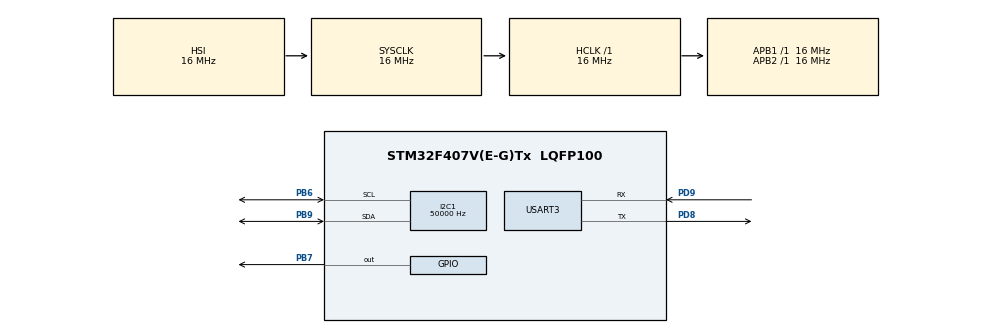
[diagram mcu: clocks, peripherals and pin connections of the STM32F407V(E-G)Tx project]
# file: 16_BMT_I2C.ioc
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I2C1.ClockSpeed=50000
Mcu.Family=STM32F4
Mcu.Name=STM32F407V(E-G)Tx
Mcu.Package=LQFP100
NVIC.PriorityGroup=NVIC_PRIORITYGROUP_4
NVIC.USART3_IRQn=true\:0\:0\:false\:false\:true\:true\:true\:true
PB6.Mode=I2C
PB6.Signal=I2C1_SCL
PB7.Signal=GPIO_Output
PB9.Mode=I2C
PB9.Signal=I2C1_SDA
PD8.Mode=Asynchronous
PD8.Signal=USART3_TX
PD9.Mode=Asynchronous
PD9.Signal=USART3_RX
ProjectManager.HeapSize=0x200
ProjectManager.StackSize=0x400
ProjectManager.TargetToolchain=STM32CubeIDE
RCC.AHBFreq_Value=16000000
RCC.APB1Freq_Value=16000000
RCC.APB2Freq_Value=16000000
RCC.CortexFreq_Value=16000000
RCC.HSE_VALUE=25000000
RCC.HSI_VALUE=16000000
RCC.LSE_VALUE=32768
RCC.SYSCLKFreq_VALUE=16000000
RCC.VCOOutputFreq_Value=192000000
USART3.VirtualMode=VM_ASYNC
board=custom

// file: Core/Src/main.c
/* USER CODE BEGIN Header */
/**
  ******************************************************************************
  * @file           : main.c
  * @brief          : Main program body
  ******************************************************************************
  * @attention
  *
  * Copyright (c) 2023 STMicroelectronics.
  * All rights reserved.
  *
  * This software is licensed under terms that can be found in the LICENSE file
  * in the root directory of this software component.
  * If no LICENSE file comes with this software, it is provided AS-IS.
  *
  ******************************************************************************
  */
/* USER CODE END Header */
#include "main.h"

/* USER CODE BEGIN Includes */
#include "i2c_lib.h"
/* USER CODE END Includes */

/* USER CODE BEGIN PTD */
typedef enum{
	NOT_EQUAL,
	EQUAL,
}compare_result_t;

/* USER CODE END PTD */

I2C_HandleTypeDef hi2c1;

UART_HandleTypeDef huart3;

/* USER CODE BEGIN PV */
uint8_t rcvBuf[5];

/* USER CODE END PV */

void SystemClock_Config(void);
static void MX_GPIO_Init(void);
static void MX_I2C1_Init(void);
static void MX_USART3_UART_Init(void);
/* USER CODE BEGIN PFP */
compare_result_t compare_strings(uint8_t *str1, uint8_t *str2, uint8_t len);
uint8_t char_to_digit(uint8_t character);
/* USER CODE END PFP */

int main(void)
{

  /* MCU Configuration--------------------------------------------------------*/

  /* Reset of all peripherals, Initializes the Flash interface and the Systick. */
  HAL_Init();

  /* Configure the system clock */
  SystemClock_Config();

  /* Initialize all configured peripherals */
  MX_GPIO_Init();
  MX_I2C1_Init();
  MX_USART3_UART_Init();
  /* USER CODE BEGIN 2 */

  HAL_Delay(10);

  I2C_enable_outputs();
  I2C_disable_sleep_mode(&hi2c1);
  I2C_set_duty_for_all(&hi2c1, 60);

  /* USER CODE END 2 */

  /* Infinite loop */
  /* USER CODE BEGIN WHILE */

  while (1)
  {
	  HAL_UART_Receive_IT(&huart3, rcvBuf, 5);
    /* USER CODE END WHILE */

  }
}

void SystemClock_Config(void)
{
  RCC_OscInitTypeDef RCC_OscInitStruct = {0};
  RCC_ClkInitTypeDef RCC_ClkInitStruct = {0};

  /** Configure the main internal regulator output voltage
  */
  __HAL_RCC_PWR_CLK_ENABLE();
  __HAL_PWR_VOLTAGESCALING_CONFIG(PWR_REGULATOR_VOLTAGE_SCALE1);

  /** Initializes the RCC Oscillators according to the specified parameters
  * in the RCC_OscInitTypeDef structure.
  */
  RCC_OscInitStruct.OscillatorType = RCC_OSCILLATORTYPE_HSI;
  RCC_OscInitStruct.HSIState = RCC_HSI_ON;
  RCC_OscInitStruct.HSICalibrationValue = RCC_HSICALIBRATION_DEFAULT;
  RCC_OscInitStruct.PLL.PLLState = RCC_PLL_NONE;
  if (HAL_RCC_OscConfig(&RCC_OscInitStruct) != HAL_OK)
  {
    Error_Handler();
  }

  /** Initializes the CPU, AHB and APB buses clocks
  */
  RCC_ClkInitStruct.ClockType = RCC_CLOCKTYPE_HCLK|RCC_CLOCKTYPE_SYSCLK
                              |RCC_CLOCKTYPE_PCLK1|RCC_CLOCKTYPE_PCLK2;
  RCC_ClkInitStruct.SYSCLKSource = RCC_SYSCLKSOURCE_HSI;
  RCC_ClkInitStruct.AHBCLKDivider = RCC_SYSCLK_DIV1;
  RCC_ClkInitStruct.APB1CLKDivider = RCC_HCLK_DIV1;
  RCC_ClkInitStruct.APB2CLKDivider = RCC_HCLK_DIV1;

  if (HAL_RCC_ClockConfig(&RCC_ClkInitStruct, FLASH_LATENCY_0) != HAL_OK)
  {
    Error_Handler();
  }
}

static void MX_I2C1_Init(void)
{

  hi2c1.Instance = I2C1;
  hi2c1.Init.ClockSpeed = 50000;
  hi2c1.Init.DutyCycle = I2C_DUTYCYCLE_2;
  hi2c1.Init.OwnAddress1 = 0;
  hi2c1.Init.AddressingMode = I2C_ADDRESSINGMODE_7BIT;
  hi2c1.Init.DualAddressMode = I2C_DUALADDRESS_DISABLE;
  hi2c1.Init.OwnAddress2 = 0;
  hi2c1.Init.GeneralCallMode = I2C_GENERALCALL_DISABLE;
  hi2c1.Init.NoStretchMode = I2C_NOSTRETCH_DISABLE;
  if (HAL_I2C_Init(&hi2c1) != HAL_OK)
  {
    Error_Handler();
  }

}

static void MX_USART3_UART_Init(void)
{

  huart3.Instance = USART3;
  huart3.Init.BaudRate = 115200;
  huart3.Init.WordLength = UART_WORDLENGTH_8B;
  huart3.Init.StopBits = UART_STOPBITS_1;
  huart3.Init.Parity = UART_PARITY_NONE;
  huart3.Init.Mode = UART_MODE_TX_RX;
  huart3.Init.HwFlowCtl = UART_HWCONTROL_NONE;
  huart3.Init.OverSampling = UART_OVERSAMPLING_16;
  if (HAL_UART_Init(&huart3) != HAL_OK)
  {
    Error_Handler();
  }

}

static void MX_GPIO_Init(void)
{
  GPIO_InitTypeDef GPIO_InitStruct = {0};

  /* GPIO Ports Clock Enable */
  __HAL_RCC_GPIOD_CLK_ENABLE();
  __HAL_RCC_GPIOB_CLK_ENABLE();

  /*Configure GPIO pin Output Level */
  HAL_GPIO_WritePin(GPIOB, GPIO_PIN_7, GPIO_PIN_RESET);

  /*Configure GPIO pin : PB7 */
  GPIO_InitStruct.Pin = GPIO_PIN_7;
  GPIO_InitStruct.Mode = GPIO_MODE_OUTPUT_PP;
  GPIO_InitStruct.Pull = GPIO_NOPULL;
  GPIO_InitStruct.Speed = GPIO_SPEED_FREQ_LOW;
  HAL_GPIO_Init(GPIOB, &GPIO_InitStruct);

}

/* USER CODE BEGIN 4 */
/**
  * @brief  Compare first "len" symbols of two strings.
  *
  * @note   len should be less then or equal to length of shortest string
  *
  * @param  str1 One of compared strings
  * @param  str2 One of compared strings
  * @param  len Amount of symbols to be compared
  *
  * @retval Is equal symbols or not
  */
compare_result_t compare_strings(uint8_t *str1, uint8_t *str2, uint8_t len){
	for (uint8_t i = 0; i < len; i++){
		if(str1[i] != str2[i]){
			return NOT_EQUAL;
		}
	}
	return EQUAL;
}

/**
  * @brief  Convert symbol code to corresponding digit.
  *
  * @note   if function got not symbol code of digit than return 0xFF
  *
  * @param  character Symbol code to be converted
  *
  * @retval Digit corresponding to the character
  */
uint8_t char_to_digit(uint8_t character){
	if('0' <= character || character <= '9'){
		return character - '0';
	}
	return 0xFF;
}

void HAL_UART_RxCpltCallback(UART_HandleTypeDef *huart)
{
  switch (rcvBuf[0]){

  uint8_t digit1, digit2, digit3, digit4;

  case 'O':
	  /*
      enable/disable outputs
      command examples:
	  OutEn - enable outputs
	  OutDs - disable outputs
	  OutTg - toggle outputs
	  */
	  if (compare_strings(rcvBuf, (uint8_t *)"OutEn", 5)){
		  I2C_enable_outputs();
		  HAL_UART_Transmit(&huart3, (uint8_t *)"Outputs enabled\n\r", 17, 10);
		  break;
	  }else if(compare_strings(rcvBuf, (uint8_t *)"OutDs", 5)){
		  I2C_disable_outputs();
		  HAL_UART_Transmit(&huart3, (uint8_t *)"Outputs disabled\n\r", 18, 10);
		  break;
	  }else if(compare_strings(rcvBuf, (uint8_t *)"OutTg", 5)){
		  I2C_toggle_outputs();
		  HAL_UART_Transmit(&huart3, (uint8_t *)"Outputs toggled\n\r", 17, 10);
		  break;
	  /* write led_on/of
	  command examples:
	  ON-06 - led_on for LED6
	  ONn06 - disable led_on for LED6
	  OFF12 - led_off for LED12
	  OFn12 - disable led_off for LED12
	  */
	  }else if(compare_strings(rcvBuf, (uint8_t *)"ONn", 3)){
		  digit2 = char_to_digit(rcvBuf[3]);
		  digit1 = char_to_digit(rcvBuf[4]);
		  if(digit1 < 10 && digit2 < 10){
			  uint8_t led = digit2 * 10 + digit1;
			  I2C_write_led_on(&hi2c1, led, OFF);
			  HAL_UART_Transmit(&huart3, (uint8_t *)"LED is not ON\n\r", 15, 10);
			  break;
		  }
	  }else if(compare_strings(rcvBuf, (uint8_t *)"ON-", 3)){
		  digit2 = char_to_digit(rcvBuf[3]);
		  digit1 = char_to_digit(rcvBuf[4]);
		  if(digit1 < 10 && digit2 < 10){
			  uint8_t led = digit2 * 10 + digit1;
			  I2C_write_led_on(&hi2c1, led, ON);
			  HAL_UART_Transmit(&huart3, (uint8_t *)"LED is ON\n\r", 11, 10);
			  break;
		  }
	  }else if(compare_strings(rcvBuf, (uint8_t *)"OFF", 3)){
		  digit2 = char_to_digit(rcvBuf[3]);
		  digit1 = char_to_digit(rcvBuf[4]);
		  if(digit1 < 10 && digit2 < 10){
			  uint8_t led = digit2 * 10 + digit1;
			  I2C_write_led_off(&hi2c1, led, ON);
			  HAL_UART_Transmit(&huart3, (uint8_t *)"LED is OFF\n\r", 12, 10);
			  break;
		  }
	  }else if(compare_strings(rcvBuf, (uint8_t *)"OFn", 3)){
		  digit2 = char_to_digit(rcvBuf[3]);
		  digit1 = char_to_digit(rcvBuf[4]);
		  if(digit1 < 10 && digit2 < 10){
			  uint8_t led = digit2 * 10 + digit1;
		  	  I2C_write_led_off(&hi2c1, led, OFF);
		  	  HAL_UART_Transmit(&huart3, (uint8_t *)"LED is not OFF\n\r", 16, 10);
		  	  break;
		  }
	  }
	  HAL_UART_Transmit(&huart3, rcvBuf, 5, 10);
	  HAL_UART_Transmit(&huart3, (uint8_t *)" - UnexpCmd\n\r", 13, 10);
	  break;
  case 'A':
	  /* write all led_on/of
	  command examples:
	  AllON - led_on for all
	  AlnON - disable led_on for all
	  AlOFF - led_off for all
	  AnOFF - disable led_off for all
	  */

	  if(compare_strings(rcvBuf, (uint8_t *)"AllON", 5)){
		  I2C_write_led_on_for_all(&hi2c1, ON);
		  HAL_UART_Transmit(&huart3, (uint8_t *)"LEDs is ON\n\r", 12, 10);
		  break;
	  }else if(compare_strings(rcvBuf, (uint8_t *)"AlnON", 5)){
		  I2C_write_led_on_for_all(&hi2c1, OFF);
		  HAL_UART_Transmit(&huart3, (uint8_t *)"LEDs is not ON\n\r", 16, 10);
		  break;
	  }else if(compare_strings(rcvBuf, (uint8_t *)"AlOFF", 5)){
		  I2C_write_led_off_for_all(&hi2c1, ON);
		  HAL_UART_Transmit(&huart3, (uint8_t *)"LEDs is OFF\n\r", 13, 10);
		  break;
	  }else if(compare_strings(rcvBuf, (uint8_t *)"AnOFF", 5)){
		  I2C_write_led_off_for_all(&hi2c1, OFF);
		  HAL_UART_Transmit(&huart3, (uint8_t *)"LEDs is not OFF\n\r", 17, 10);
		  break;
	  }else{
		  HAL_UART_Transmit(&huart3, rcvBuf, 5, 10);
		  HAL_UART_Transmit(&huart3, (uint8_t *)(" - UnexpCmd\n\r"), 13, 10);
		  break;
	  }
  case 'S':
	  /* enable/disable sleep mode
	  command examples:
	  SlmEn - enable sleep mode
	  SlmDs - disable sleep mode
	   */
	  if(compare_strings(rcvBuf, (uint8_t *)"SlmEn", 5)){
		  I2C_enable_sleep_mode(&hi2c1);
		  HAL_UART_Transmit(&huart3, (uint8_t *)"Sleep mode enabled\n\r", 20, 10);
		  break;
	  } else if(compare_strings(rcvBuf, (uint8_t *)"SlmDs", 5)){
		  I2C_disable_sleep_mode(&hi2c1);
		  HAL_UART_Transmit(&huart3, (uint8_t *)"Sleep mode disabled\n\r", 21, 10);
		  break;
	  }else{
		  HAL_UART_Transmit(&huart3, rcvBuf, 5, 10);
		  HAL_UART_Transmit(&huart3, (uint8_t *)(" - UnexpCmd\n\r"), 13, 10);
		  break;
	  }
  case 'D':
	  /*
	  set duty
	  command examples:
	  D0680 - set duty 80% for LED6
	  DAl95 - set duty 95% for all LEDs
	   */
	  if (compare_strings(rcvBuf, (uint8_t *)"DAl", 3)){
		  uint8_t digit2 = char_to_digit(rcvBuf[3]);
		  uint8_t digit1 = char_to_digit(rcvBuf[4]);
		  if(digit2 < 10 && digit1 < 10){
			  uint8_t duty = digit2 * 10 + digit1;
		  	  I2C_set_duty_for_all(&hi2c1, duty);
		  	  HAL_UART_Transmit(&huart3, (uint8_t *)"Duty is set for all\n\r", 21, 10);
		  	  break;
		  }
	  }else{
		  digit4 = char_to_digit(rcvBuf[1]);
		  digit3 = char_to_digit(rcvBuf[2]);
		  digit2 = char_to_digit(rcvBuf[3]);
		  digit1 = char_to_digit(rcvBuf[4]);
		  if(digit1 < 10 && digit2 < 10 && digit3 < 10 && digit4 < 10){
			  uint8_t led  = digit4 * 10 + digit3;
			  if (led <= 15){
				  uint8_t duty = digit2 * 10 + digit1;
				  I2C_set_duty(&hi2c1, led, duty);
				  HAL_UART_Transmit(&huart3, (uint8_t *)"Duty is set\n\r", 13, 10);
				  break;
			  }else{
				  HAL_UART_Transmit(&huart3, (uint8_t *)"LED number is out of range\n\r", 28, 10);
				  break;
			  }
		  }
	  }

	  HAL_UART_Transmit(&huart3, rcvBuf, 5, 10);
	  HAL_UART_Transmit(&huart3, (uint8_t *)(" - UnexpCmd\n\r"), 13, 10);
	  break;
  case 'F':
	  /* set frequency
	  command examples:
	  F1000 - set frequency 1000Hz
	  F0050 - set frequency 50Hz
	  */
	  digit4 = char_to_digit(rcvBuf[1]);
	  digit3 = char_to_digit(rcvBuf[2]);
	  digit2 = char_to_digit(rcvBuf[3]);
	  digit1 = char_to_digit(rcvBuf[4]);
	  if(digit1 < 10 && digit2 < 10 && digit3 < 10 && digit4 < 10){
		  uint16_t frequency = digit4 * 1000 + digit3 * 100 + digit2 * 10 + digit1;
		  if (24 <= frequency && frequency <= 1526){
			  I2C_set_pwm_frequency(&hi2c1, frequency);
			  HAL_UART_Transmit(&huart3, (uint8_t *)"Frequency is set\n\r", 18, 10);
			  break;
		  }else{
			  HAL_UART_Transmit(&huart3, (uint8_t *)"Frequency is out of range\n\r", 27, 10);
			  break;
		  }
	  }
	  //no break
  default:
	  HAL_UART_Transmit(&huart3, rcvBuf, 5, 10);
	  HAL_UART_Transmit(&huart3, (uint8_t *)(" - UnexpCmd\n\r"), 13, 10);
	  break;
  }
}
/* USER CODE END 4 */

void Error_Handler(void)
{
  __disable_irq();
  while (1)
  {
  }
}
